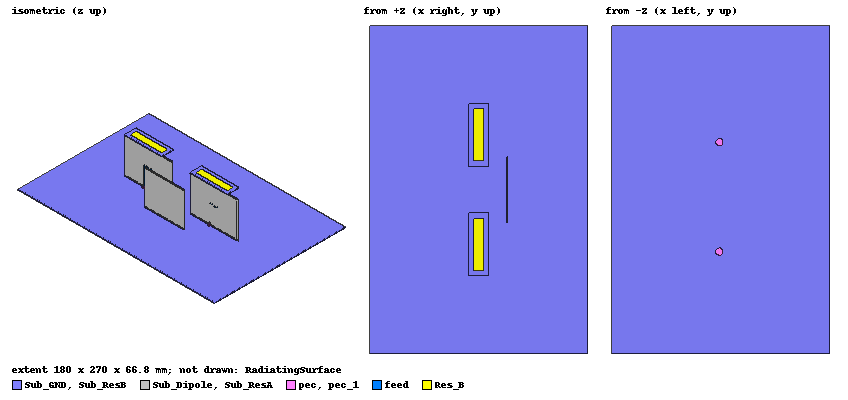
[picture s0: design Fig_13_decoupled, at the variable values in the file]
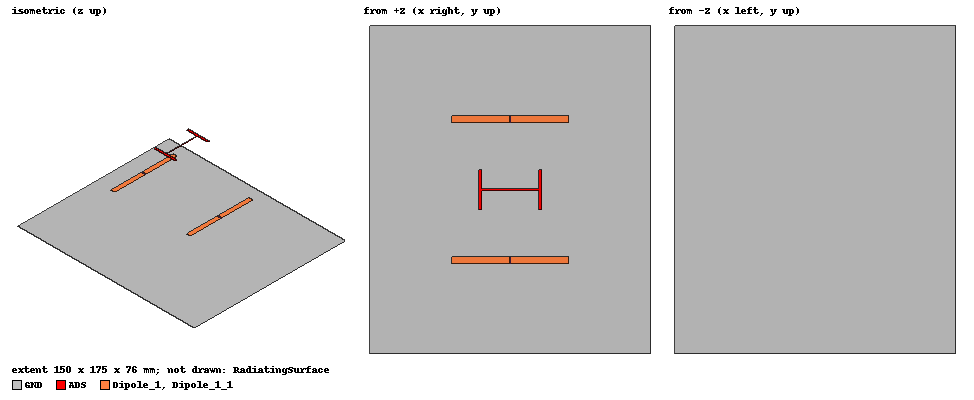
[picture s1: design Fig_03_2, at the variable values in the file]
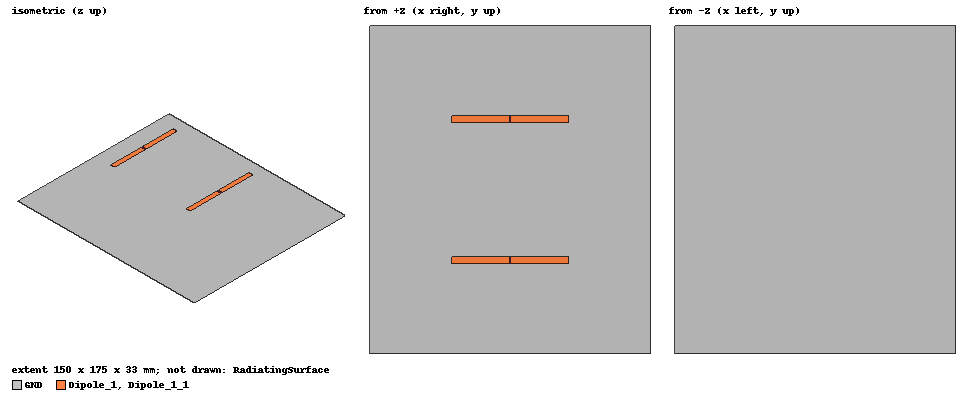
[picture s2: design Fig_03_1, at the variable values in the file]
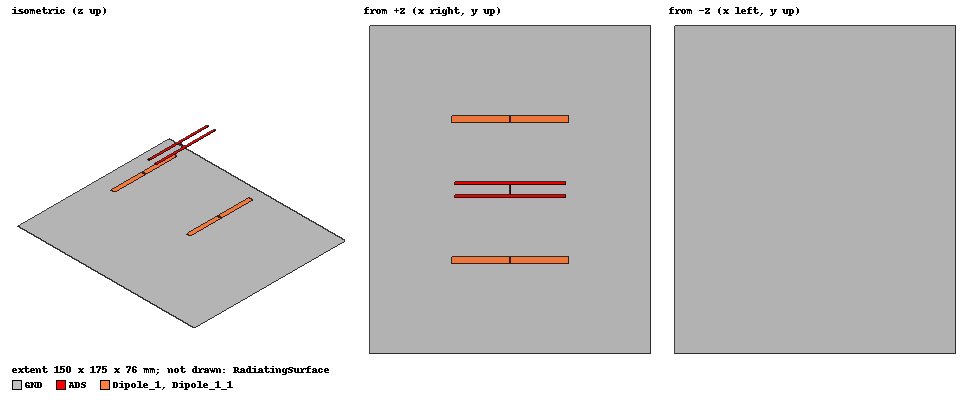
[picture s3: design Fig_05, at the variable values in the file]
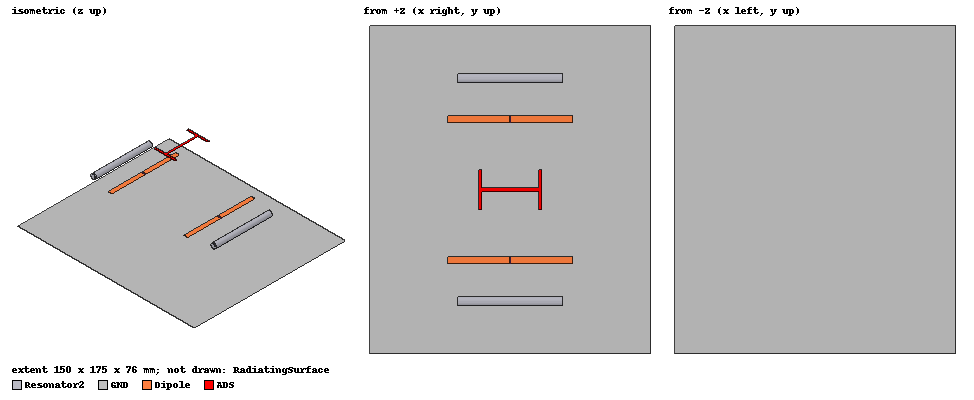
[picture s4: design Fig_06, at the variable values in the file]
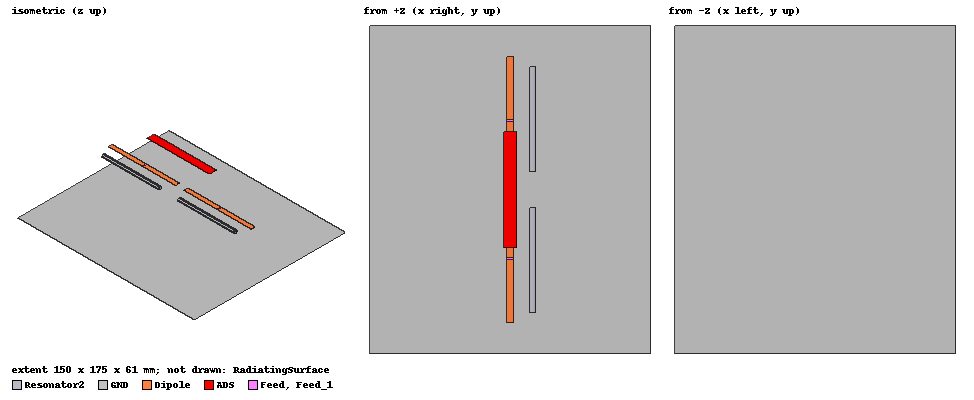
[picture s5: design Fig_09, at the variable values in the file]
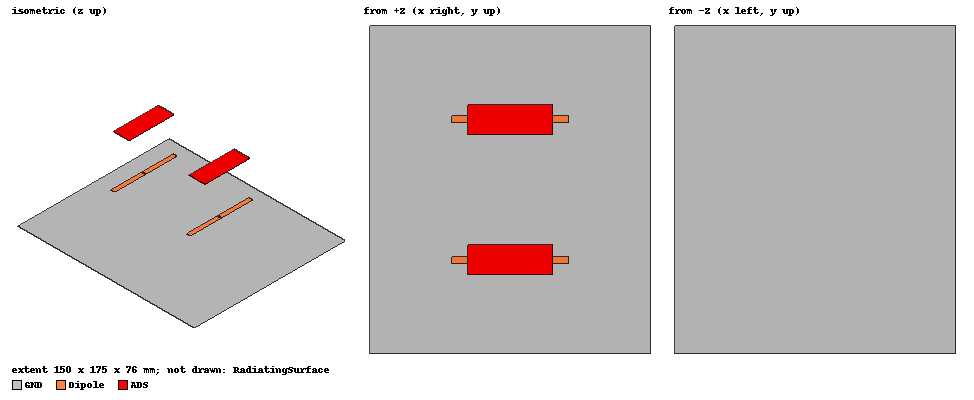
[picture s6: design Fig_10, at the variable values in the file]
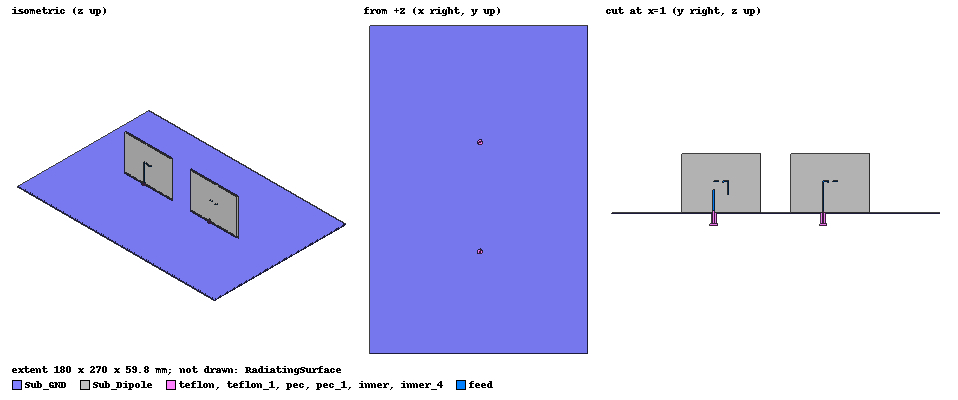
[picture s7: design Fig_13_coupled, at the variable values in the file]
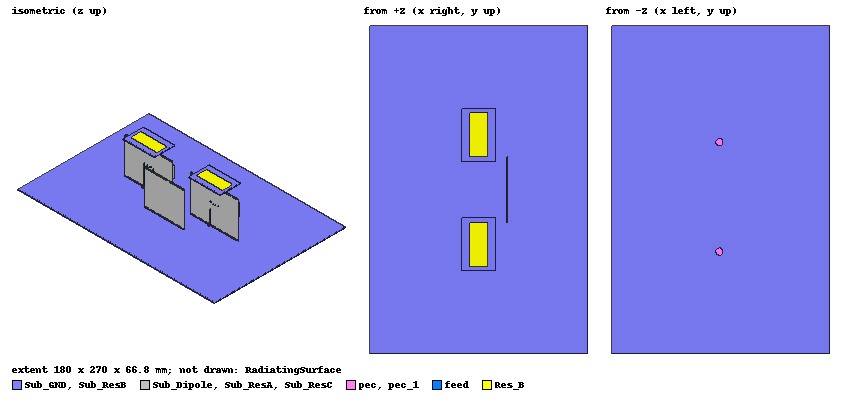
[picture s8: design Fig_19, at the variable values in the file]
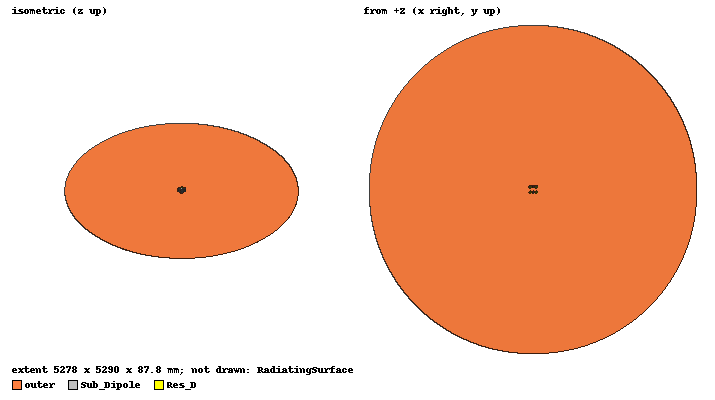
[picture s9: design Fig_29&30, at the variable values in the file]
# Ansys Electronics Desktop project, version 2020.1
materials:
  vacuum: permittivity=1
  Rogers RO4350 (tm): permittivity=3.66 dielectric_loss_tangent=0.004
  FR4_epoxy: permittivity=4.4 dielectric_loss_tangent=0.02
  pec: conductivity=1e+30
  Teflon (tm): permittivity=2.1 dielectric_loss_tangent=0.001
  teflon_based: permittivity=2.08 dielectric_loss_tangent=0.001
  FR4_epoxy1: permittivity=4.38 dielectric_loss_tangent=0.005

design Fig_13_decoupled (HFSS, DrivenModal, model units mm)
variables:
  t_pcb = 0.8mm
  t_sub = 0.8mm
  l_g = 270mm
  w_g = 180mm
  l_d1 = 65mm
  w_1 = 0.9mm
  w_3 = 0.4mm
  ww = 1.2mm
  w_2 = 0.6mm
  l_l2 = 14mm
  l_l1 = 19mm
  l_l4 = 5.2mm
  h_prob = 2mm
  r_prob = 0.6mm
  h_feed = 8mm
  feed_sub_radius = 2.07mm
  port_radius = 3mm
  D = 90mm
  G_h = 48mm
  G_w = 10mm
  G_w1 = 7mm
  G_l1 = 28mm
  G_l2 = 22mm
  gap = 2mm
  F_l3 = 12.6mm
  F_l31 = 4.6mm
  w_pcb = 49mm
  F_w1 = 0.9mm
  F_l1 = 19mm
  F_w2 = 0.6mm
  F_l2 = 7.3mm
  F_l4 = 11.3mm
  P_h3 = 56mm
  P_l3 = 43mm
  P_w3 = 8mm
  P_x = 23mm
  l_sub_ResA = 54mm
  P_l1 = 50mm
  P_h1 = 47mm
  P_h2 = 16mm
  P_w1 = 8mm
  P_l2 = 28mm
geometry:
  Sub_GND [pec] = box(corner=(-w_g/2, -l_g/2, 0mm), size=(w_g, l_g, -t_sub))
  Dipole = rectangle(corner=(-t_pcb/2, 0, 0mm), y_size=-G_w, z_size=G_h)
  Rectangle2 = rectangle(corner=(-t_pcb/2, 0, G_h), y_size=-G_l1, z_size=-G_w1)
  Rectangle3 = rectangle(corner=(-t_pcb/2, -G_l1, G_h), y_size=G_w1, z_size=-G_l2)
  feed = rectangle(corner=(t_pcb/2, -F_l3/2-w_1/2+w_2/2, 0mm), y_size=F_w1, z_size=F_l1)
  feed2 = rectangle(corner=(t_pcb/2, -F_l3/2, l_l1), y_size=F_w2, z_size=F_l2)
  feed3 = rectangle(corner=(t_pcb/2, -F_l3/2, F_l1+F_l2), y_size=F_l3, z_size=-F_w2)
  feed4 = rectangle(corner=(t_pcb/2, F_l3/2, F_l1+F_l2), y_size=-F_w2, z_size=-F_l4)
  feed5 = rectangle(corner=(t_pcb/2, -F_l31/2, F_l1+F_l2-ww), y_size=F_l31, z_size=-F_w2)
  feed6 = rectangle(corner=(t_pcb/2, -F_l31/2, F_l1+F_l2), y_size=F_l31, z_size=-F_w2)
  feed3.subtract(feed6)
  feed7 = rectangle(corner=(t_pcb/2, -F_l31/2, F_l1+F_l2), y_size=F_w2, z_size=-ww)
  feed8 = rectangle(corner=(t_pcb/2, F_l31/2, F_l1+F_l2), y_size=-F_w2, z_size=-ww)
  inner [pec] = cylinder(axis=Z, base_centre=(t_pcb/2+r_prob, -F_l3/2+w_2/2, h_prob), radius=r_prob, height=-h_prob-h_feed-t_sub)
  teflon [Teflon (tm)] = cylinder(axis=Z, base_centre=(t_pcb/2+r_prob, -F_l3/2+w_2/2, 0), radius=feed_sub_radius, height=-h_feed-t_sub)
  pec [pec] = cylinder(axis=Z, base_centre=(t_pcb/2+r_prob, -F_l3/2+w_2/2, -h_feed-t_sub), radius=port_radius, height=-2mm)
  RadiatingSurface [vacuum] = region(absolute_offset=50mm on all sides)
  Sub_Dipole [FR4_epoxy] = box(corner=(-t_pcb/2, -l_d1/2, 0mm), size=(t_pcb, l_d1, w_pcb))
  Dipole.unite(Rectangle2, Rectangle3)
  Dipole.move(0mm, -gap/2, 0mm)
  Dipole1_1 = Dipole.duplicate_mirror(point=(0mm, 0mm, 0mm), normal=(0mm, 1mm, 0mm))
  Dipole.unite(Dipole1_1)
  feed.unite(feed2..feed5, feed7, feed8)
  inner_2 = inner.copy()
  teflon.subtract(inner_2)
  [Sub_Dipole, inner, pec, teflon, Dipole, feed].move(0mm, -D/2, 0mm)
  inner_3 = inner.copy()
  Sub_GND.subtract(inner_3)
  Sub_Dipole_1 = Sub_Dipole.duplicate_mirror(point=(0mm, 0mm, 0mm), normal=(0mm, 1mm, 0mm))
  Dipole1_2 = Dipole.duplicate_along_line(step=(0mm, 90mm, 0mm), total=2)
  feed1_1 = feed.duplicate_along_line(step=(0mm, 90mm, 0mm), total=2)
  inner_4 [pec] = inner.duplicate_along_line(step=(0mm, D, 0mm), total=2)
  pec_1 [pec] = pec.duplicate_along_line(step=(0mm, D, 0mm), total=2)
  teflon_1 [Teflon (tm)] = teflon.duplicate_along_line(step=(0mm, D, 0mm), total=2)
  inner_4_1 = inner_4.copy()
  Sub_GND.subtract(inner_4_1)
  teflon_2 = teflon.copy()
  teflon_1_1 = teflon_1.copy()
  Sub_GND.subtract(teflon_2, teflon_1_1)
  Sub_Dipole.unite(Sub_Dipole_1)
  Sub_ResB [FR4_epoxy] = box(corner=(-P_w3/2*2, -P_l3/2*1.2, P_h3), size=(P_w3*2, P_l3*1.2, -t_pcb))
  Res_B = rectangle(corner=(-P_w3/2, -P_l3/2, P_h3), x_size=P_w3, y_size=P_l3)
  Res_B.move(0mm, -D/2, 0mm)
  Rectangle4_1 = Res_B.duplicate_mirror(point=(0mm, 0mm, 0mm), normal=(0mm, 1mm, 0mm))
  Res_B.unite(Rectangle4_1)
  Sub_ResB.move(0mm, -D/2, 0mm)
  Box1_1 = Sub_ResB.duplicate_mirror(point=(0mm, 0mm, 0mm), normal=(0mm, 1mm, 0mm))
  Sub_ResB.unite(Box1_1)
  Sub_ResA [FR4_epoxy] = box(corner=(P_x, -l_sub_ResA/2, 0mm), size=(t_pcb, l_sub_ResA, P_h1))
  Dipole.unite(Dipole1_2)
  feed.unite(feed1_1)
  Res_A = rectangle(corner=(P_x, -P_l1/2, P_l2+P_h2), y_size=P_l1, z_size=-G_w1)
  Res_A1 = rectangle(corner=(P_x, -P_l1/2, P_h2), y_size=P_w1, z_size=P_l2)
  Res_A1_1 = Res_A1.duplicate_mirror(point=(0mm, 0mm, 0mm), normal=(0mm, 1mm, 0mm))
  Res_A.unite(Res_A1, Res_A1_1)
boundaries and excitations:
  PerfE_Dipole: Perfect E Objects=[Dipole, feed]
  Open1: Radiation Objects=RadiatingSurface
  PerfE2: Perfect E Faces=teflon.face(1 of 3)
  PerfE4: Perfect E Faces=teflon_1.face(2 of 4)
  PerfE_Res_B: Perfect E Objects=Res_B
  PerfE_Res_A: Perfect E Objects=Res_A
  1: Wave Port Faces=pec.face(3 of 3) NumModes=1 Modes{Mode1{IntLine{centre of pec.face(3 of 3) -> pec.edge(2 of 2) at 0.25 along} CharImp=Zpi}}
  2: Wave Port Faces=pec_1.face(3 of 3) NumModes=1 Modes{Mode1{IntLine{centre of pec_1.face(3 of 3) -> pec_1.edge(2 of 2) at 0.25 along} CharImp=Zpi}}
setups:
  Setup1: HfssDriven Frequency=2GHz MaxDeltaS=0.02 MaximumPasses=6 MinimumPasses=1 MinimumConvergedPasses=1 PercentRefinement=30 BasisOrder=1 PortAccuracy=2
    sweep Sweep: 1.5GHz to 2.4GHz step 0.02GHz; Type=Discrete SaveFields
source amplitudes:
  1:1: 1W 0deg
  2:1: 0W 0deg
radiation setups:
  3D: Infinite Sphere Theta=0deg..180deg step 2deg Phi=-180deg..180deg step 2deg
  Elevation: Infinite Sphere Theta=-180deg..180deg step 1deg Phi=0deg..90deg step 90deg
  Azimuth: Infinite Sphere Theta=90deg..90deg step 0deg Phi=-180deg..180deg step 1deg
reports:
  S11_S22: dB(S(1,1)), dB(S(2,2)) vs Freq
  S21: dB(S(2,1)) vs Freq

design Fig_03_2 (HFSS, DrivenModal, model units mm)
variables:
  L_dipole = 62mm
  Pitch = 75mm
  W_dipole = 4mm
  L_gnd = 150mm
  W_gnd = 175mm
  hsub = 33mm
  L_feed = 1mm
  h_ADS = 76mm
  L_ADS = 30mm
  W_ADS = 0.8mm
  W_ADS1 = 2mm
  L_ADS1 = 21mm
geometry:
  Dipole_1 = rectangle(corner=(-L_dipole/2, -Pitch/2-W_dipole/2, 0mm), x_size=L_dipole, y_size=W_dipole)
  Dipole_1_1 = Dipole_1.duplicate_mirror(point=(0mm, 0mm, 0mm), normal=(0mm, 1mm, 0mm))
  GND = rectangle(corner=(-L_gnd/2, -W_gnd/2, -hsub), x_size=L_gnd, y_size=W_gnd)
  Feed = rectangle(corner=(-L_feed/2, -Pitch/2-W_dipole/2, 0mm), x_size=L_feed, y_size=W_dipole)
  Feed_1 = Feed.duplicate_mirror(point=(0mm, 0mm, 0mm), normal=(0mm, 1mm, 0mm))
  Feed_2 = Feed.copy()
  Dipole_1.subtract(Feed_2)
  Feed_1_1 = Feed_1.copy()
  Dipole_1_1.subtract(Feed_1_1)
  ADS = rectangle(corner=(-L_ADS/2, -W_ADS/2, h_ADS-hsub), x_size=L_ADS, y_size=W_ADS)
  ADS1 = rectangle(corner=(-L_ADS/2, -L_ADS1/2, h_ADS-hsub), x_size=-W_ADS1, y_size=L_ADS1)
  ADS1_1 = ADS1.duplicate_mirror(point=(0mm, 0mm, 0mm), normal=(1mm, 0mm, 0mm))
  ADS.unite(ADS1, ADS1_1)
  RadiatingSurface [vacuum] = region(absolute_offset=50mm on all sides)
  Rectangle1 [non-model] = rectangle(corner=(-L_gnd/2, -W_gnd/2, 0), x_size=L_gnd, y_size=W_gnd)
  Rectangle2 [non-model] = rectangle(corner=(-L_gnd/2, -W_gnd/2, h_ADS-hsub), x_size=L_gnd, y_size=W_gnd)
  Rectangle3 [non-model] = rectangle(corner=(0, -W_gnd/2, -hsub), y_size=W_gnd, z_size=h_ADS*3/2)
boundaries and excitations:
  PerfE_Dipole: Perfect E Objects=[Dipole_1, Dipole_1_1]
  PerfE_GND: Perfect E Objects=GND
  PerfE_ADS: Perfect E Objects=ADS
  Open1: Radiation Objects=RadiatingSurface
  1: Lumped Port Objects=Feed Modes{Mode1{IntLine{middle of Feed.edge(x at corner) -> middle of Feed.edge(x opposite corner)} CharImp=Zpi RenormImp=50ohm}} Impedance=50ohm
  2: Lumped Port Objects=Feed_1 Modes{Mode1{IntLine{middle of Feed_1.edge(2 of 4) -> middle of Feed_1.edge(4 of 4)} CharImp=Zpi RenormImp=50ohm}} Impedance=50ohm
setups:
  Setup1: HfssDriven Frequency=2GHz MaxDeltaS=0.02 MaximumPasses=6 MinimumPasses=1 MinimumConvergedPasses=2 PercentRefinement=30 BasisOrder=1 PortAccuracy=2
    sweep Sweep: 1.8GHz to 2.2GHz step 0.005GHz; Type=Discrete SaveFields
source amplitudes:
  1:1: 1W 0deg
  2:1: 0W 0deg
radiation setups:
  3D: Infinite Sphere Theta=0deg..180deg step 2deg Phi=-180deg..180deg step 2deg
  Elevation: Infinite Sphere Theta=-180deg..180deg step 1deg Phi=0deg..90deg step 90deg
  Azimuth: Infinite Sphere Theta=90deg..90deg step 0deg Phi=-180deg..180deg step 1deg
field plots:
  Mag_E1: E Field over a plane on Setup1 : Sweep at Freq=2GHz Phase=150deg
  Mag_E2: E Field over a plane on Setup1 : Sweep at Freq=2GHz Phase=0deg
  Mag_H1: H Field over a plane on Setup1 : Sweep at Freq=2GHz Phase=240deg
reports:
  S11: dB(S(1,1)), dB(S(1,1)) vs Freq; markers m1 at 1.975GHz
  S21: dB(S(2,1)), dB(S(2,1)) vs Freq

design Fig_03_1 (HFSS, DrivenModal, model units mm)
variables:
  L_dipole = 62mm
  Pitch = 75mm
  W_dipole = 4mm
  L_gnd = 150mm
  W_gnd = 175mm
  hsub = 33mm
  L_feed = 1mm
  h_ADS = 76mm
  L_ADS = 30mm
  W_ADS = 0.8mm
  W_ADS1 = 2mm
  L_ADS1 = 21mm
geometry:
  Dipole_1 = rectangle(corner=(-L_dipole/2, -Pitch/2-W_dipole/2, 0mm), x_size=L_dipole, y_size=W_dipole)
  Dipole_1_1 = Dipole_1.duplicate_mirror(point=(0mm, 0mm, 0mm), normal=(0mm, 1mm, 0mm))
  GND = rectangle(corner=(-L_gnd/2, -W_gnd/2, -hsub), x_size=L_gnd, y_size=W_gnd)
  Feed = rectangle(corner=(-L_feed/2, -Pitch/2-W_dipole/2, 0mm), x_size=L_feed, y_size=W_dipole)
  Feed_1 = Feed.duplicate_mirror(point=(0mm, 0mm, 0mm), normal=(0mm, 1mm, 0mm))
  Feed_2 = Feed.copy()
  Dipole_1.subtract(Feed_2)
  Feed_1_1 = Feed_1.copy()
  Dipole_1_1.subtract(Feed_1_1)
  RadiatingSurface [vacuum] = region(absolute_offset=50mm on all sides)
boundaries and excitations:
  PerfE_Dipole: Perfect E Objects=[Dipole_1, Dipole_1_1]
  PerfE_GND: Perfect E Objects=GND
  Open1: Radiation Objects=RadiatingSurface
  1: Lumped Port Objects=Feed Modes{Mode1{IntLine{middle of Feed.edge(x at corner) -> middle of Feed.edge(x opposite corner)} CharImp=Zpi RenormImp=50ohm}} Impedance=50ohm
  2: Lumped Port Objects=Feed_1 Modes{Mode1{IntLine{middle of Feed_1.edge(2 of 4) -> middle of Feed_1.edge(4 of 4)} CharImp=Zpi RenormImp=50ohm}} Impedance=50ohm
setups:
  Setup1: HfssDriven Frequency=2GHz MaxDeltaS=0.02 MaximumPasses=6 MinimumPasses=1 MinimumConvergedPasses=2 PercentRefinement=30 BasisOrder=1 PortAccuracy=2
    sweep Sweep: 1.8GHz to 2.2GHz step 0.01GHz; Type=Discrete SaveFields
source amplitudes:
  1:1: 1W 0deg
  2:1: 0W 0deg
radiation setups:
  3D: Infinite Sphere Theta=0deg..180deg step 2deg Phi=-180deg..180deg step 2deg
  Elevation: Infinite Sphere Theta=-180deg..180deg step 1deg Phi=0deg..90deg step 90deg
  Azimuth: Infinite Sphere Theta=90deg..90deg step 0deg Phi=-180deg..180deg step 1deg
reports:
  S11: dB(S(1,1)), dB(S(2,2)), dB(S(2,1)), dB(S(1,2)) vs Freq
  Realized Gain Plot 2: dB(RealizedGainTotal) vs Theta

design Fig_05 (HFSS, DrivenModal, model units mm)
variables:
  L_dipole = 62mm
  Pitch = 75mm
  W_dipole = 4mm
  L_gnd = 150mm
  W_gnd = 175mm
  hsub = 33mm
  L_feed = 1mm
  h_ADS = 76mm
  L_ADS = 0.8mm
  W_ADS = 5mm
  W_ADS1 = 2mm
  L_ADS1 = 59mm
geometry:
  Dipole_1 = rectangle(corner=(-L_dipole/2, -Pitch/2-W_dipole/2, 0mm), x_size=L_dipole, y_size=W_dipole)
  Dipole_1_1 = Dipole_1.duplicate_mirror(point=(0mm, 0mm, 0mm), normal=(0mm, 1mm, 0mm))
  GND = rectangle(corner=(-L_gnd/2, -W_gnd/2, -hsub), x_size=L_gnd, y_size=W_gnd)
  Feed = rectangle(corner=(-L_feed/2, -Pitch/2-W_dipole/2, 0mm), x_size=L_feed, y_size=W_dipole)
  Feed_1 = Feed.duplicate_mirror(point=(0mm, 0mm, 0mm), normal=(0mm, 1mm, 0mm))
  Feed_2 = Feed.copy()
  Dipole_1.subtract(Feed_2)
  Feed_1_1 = Feed_1.copy()
  Dipole_1_1.subtract(Feed_1_1)
  ADS = rectangle(corner=(-L_ADS/2, -W_ADS/2, h_ADS-hsub), x_size=L_ADS, y_size=W_ADS)
  ADS1 = rectangle(corner=(-L_ADS1/2, -W_ADS/2, h_ADS-hsub), x_size=L_ADS1, y_size=-W_ADS1)
  RadiatingSurface [vacuum] = region(absolute_offset=50mm on all sides)
  Rectangle1 [non-model] = rectangle(corner=(-L_gnd/2, -W_gnd/2, 0), x_size=L_gnd, y_size=W_gnd)
  Rectangle2 [non-model] = rectangle(corner=(-L_gnd/2, -W_gnd/2, h_ADS-hsub), x_size=L_gnd, y_size=W_gnd)
  Rectangle3 [non-model] = rectangle(corner=(0, -W_gnd/2, -hsub), y_size=W_gnd, z_size=h_ADS*3/2)
  ADS1_1 = ADS1.duplicate_mirror(point=(0mm, 0mm, 0mm), normal=(0mm, 1mm, 0mm))
  ADS.unite(ADS1, ADS1_1)
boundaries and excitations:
  PerfE_Dipole: Perfect E Objects=[Dipole_1, Dipole_1_1]
  PerfE_GND: Perfect E Objects=GND
  PerfE_ADS: Perfect E Objects=ADS
  Open1: Radiation Objects=RadiatingSurface
  1: Lumped Port Objects=Feed Modes{Mode1{IntLine{middle of Feed.edge(x at corner) -> middle of Feed.edge(x opposite corner)} CharImp=Zpi RenormImp=50ohm}} Impedance=50ohm
  2: Lumped Port Objects=Feed_1 Modes{Mode1{IntLine{middle of Feed_1.edge(2 of 4) -> middle of Feed_1.edge(4 of 4)} CharImp=Zpi RenormImp=50ohm}} Impedance=50ohm
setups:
  Setup1: HfssDriven Frequency=2GHz MaxDeltaS=0.02 MaximumPasses=6 MinimumPasses=1 MinimumConvergedPasses=2 PercentRefinement=30 BasisOrder=1 PortAccuracy=2
    sweep Sweep: 1.8GHz to 2.2GHz step 0.01GHz; Type=Discrete SaveFields
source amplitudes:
  1:1: 1W 0deg
  2:1: 0W 0deg
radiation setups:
  3D: Infinite Sphere Theta=0deg..180deg step 2deg Phi=-180deg..180deg step 2deg
  Elevation: Infinite Sphere Theta=-180deg..180deg step 1deg Phi=0deg..90deg step 90deg
  Azimuth: Infinite Sphere Theta=90deg..90deg step 0deg Phi=-180deg..180deg step 1deg
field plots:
  Mag_E1: E Field over a plane on Setup1 : Sweep at Freq=2GHz Phase=150deg
  Mag_E2: E Field over a plane on Setup1 : Sweep at Freq=2GHz Phase=0deg
  Mag_H1: H Field over a plane on Setup1 : Sweep at Freq=2GHz Phase=240deg
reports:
  S11: dB(S(1,1)), dB(S(1,1)) vs Freq
  S21: dB(S(2,1)), dB(S(2,1)) vs Freq

design Fig_06 (HFSS, DrivenModal, model units mm)
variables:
  L_dipole = 67mm
  Pitch = 75mm
  W_dipole = 4mm
  L_gnd = 150mm
  W_gnd = 175mm
  hsub = 33mm
  L_feed = 1mm
  h_ADS = 76mm
  L_ADS = 30mm
  W_ADS = 1.8mm
  W_ADS1 = 2mm
  L_ADS1 = 21mm
  r_Re2 = 2.5mm
  l_Re2 = 56mm
  d = 22mm
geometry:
  Dipole = rectangle(corner=(-L_dipole/2, -Pitch/2-W_dipole/2, 0mm), x_size=L_dipole, y_size=W_dipole)
  Dipole_1_1 = Dipole.duplicate_mirror(point=(0mm, 0mm, 0mm), normal=(0mm, 1mm, 0mm))
  GND = rectangle(corner=(-L_gnd/2, -W_gnd/2, -hsub), x_size=L_gnd, y_size=W_gnd)
  Feed = rectangle(corner=(-L_feed/2, -Pitch/2-W_dipole/2, 0mm), x_size=L_feed, y_size=W_dipole)
  Feed_1 = Feed.duplicate_mirror(point=(0mm, 0mm, 0mm), normal=(0mm, 1mm, 0mm))
  Feed_2 = Feed.copy()
  Dipole.subtract(Feed_2)
  Feed_1_1 = Feed_1.copy()
  Dipole_1_1.subtract(Feed_1_1)
  ADS = rectangle(corner=(-L_ADS/2, -W_ADS/2, h_ADS-hsub), x_size=L_ADS, y_size=W_ADS)
  ADS1 = rectangle(corner=(-L_ADS/2, -L_ADS1/2, h_ADS-hsub), x_size=-W_ADS1, y_size=L_ADS1)
  ADS1_1 = ADS1.duplicate_mirror(point=(0mm, 0mm, 0mm), normal=(1mm, 0mm, 0mm))
  ADS.unite(ADS1, ADS1_1)
  RadiatingSurface [vacuum] = region(absolute_offset=50mm on all sides)
  Rectangle1 [non-model] = rectangle(corner=(-L_gnd/2, -W_gnd/2, 0), x_size=L_gnd, y_size=W_gnd)
  Rectangle2 [non-model] = rectangle(corner=(-L_gnd/2, -W_gnd/2, h_ADS-hsub), x_size=L_gnd, y_size=W_gnd)
  Rectangle3 [non-model] = rectangle(corner=(0, -W_gnd/2, -hsub), y_size=W_gnd, z_size=h_ADS*3/2)
  Resonator2 [pec] = cylinder(axis=X, base_centre=(-l_Re2/2, -Pitch/2-d, 0mm), radius=r_Re2, height=l_Re2)
  Dipole.unite(Dipole_1_1)
  Resonator2_1 = Resonator2.duplicate_mirror(point=(0mm, 0mm, 0mm), normal=(0mm, 1mm, 0mm))
  Resonator2.unite(Resonator2_1)
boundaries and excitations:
  PerfE_Dipole: Perfect E Objects=Dipole
  PerfE_GND: Perfect E Objects=GND
  PerfE_ADS: Perfect E Objects=ADS
  Open1: Radiation Objects=RadiatingSurface
  1: Lumped Port Objects=Feed Modes{Mode1{IntLine{middle of Feed.edge(x at corner) -> middle of Feed.edge(x opposite corner)} CharImp=Zpi RenormImp=50ohm}} Impedance=50ohm
  2: Lumped Port Objects=Feed_1 Modes{Mode1{IntLine{middle of Feed_1.edge(2 of 4) -> middle of Feed_1.edge(4 of 4)} CharImp=Zpi RenormImp=50ohm}} Impedance=50ohm
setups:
  Setup1: HfssDriven Frequency=2GHz MaxDeltaS=0.02 MaximumPasses=6 MinimumPasses=1 MinimumConvergedPasses=2 PercentRefinement=30 BasisOrder=1 PortAccuracy=2
    sweep Sweep: 1.7GHz to 2.2GHz step 0.01GHz; Type=Discrete SaveFields
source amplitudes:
  1:1: 1W 0deg
  2:1: 0W 0deg
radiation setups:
  3D: Infinite Sphere Theta=0deg..180deg step 2deg Phi=-180deg..180deg step 2deg
  Elevation: Infinite Sphere Theta=-180deg..180deg step 1deg Phi=0deg..90deg step 90deg
  Azimuth: Infinite Sphere Theta=90deg..90deg step 0deg Phi=-180deg..180deg step 1deg
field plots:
  Mag_E1: E Field over a plane on Setup1 : Sweep at Freq=2GHz Phase=150deg
  Mag_E2: E Field over a plane on Setup1 : Sweep at Freq=2GHz Phase=0deg
  Mag_H1: H Field over a plane on Setup1 : Sweep at Freq=1.75GHz Phase=0deg
  Mag_H2: H Field over a plane on Setup1 : Sweep at Freq=2.04GHz Phase=0deg
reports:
  S11: dB(S(1,1)) vs Freq; markers m3 at 1.81GHz, m4 at 2.04GHz
  S21: dB(S(2,1)) vs Freq

design Fig_09 (HFSS, DrivenModal, model units mm)
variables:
  L_dipole = 67mm
  Pitch = 75mm
  W_dipole = 4mm
  L_gnd = 150mm
  W_gnd = 175mm
  hsub = 33mm
  L_feed = 1mm
  h_ADS = 61mm
  L_ADS = 62mm
  W_ADS = 7mm
  r_Re2 = 1.5mm
  l_Re2 = 56mm
  Pitch_Re2 = 12mm
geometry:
  Dipole = rectangle(corner=(-W_dipole/2, -Pitch/2-L_dipole/2, 0mm), x_size=W_dipole, y_size=L_dipole)
  Dipole_1_1 = Dipole.duplicate_mirror(point=(0mm, 0mm, 0mm), normal=(0mm, 1mm, 0mm))
  GND = rectangle(corner=(-L_gnd/2, -W_gnd/2, -hsub), x_size=L_gnd, y_size=W_gnd)
  Feed = rectangle(corner=(-W_dipole/2, -Pitch/2, 0mm), x_size=W_dipole, y_size=L_feed)
  Feed_1 = Feed.duplicate_mirror(point=(0mm, 0mm, 0mm), normal=(0mm, 1mm, 0mm))
  Feed_2 = Feed.copy()
  Dipole.subtract(Feed_2)
  Feed_1_1 = Feed_1.copy()
  Dipole_1_1.subtract(Feed_1_1)
  ADS = rectangle(corner=(-W_ADS/2, -L_ADS/2, h_ADS-hsub), x_size=W_ADS, y_size=L_ADS)
  RadiatingSurface [vacuum] = region(absolute_offset=50mm on all sides)
  Rectangle1 [non-model] = rectangle(corner=(-L_gnd/2, -W_gnd/2, 0), x_size=L_gnd, y_size=W_gnd)
  Rectangle2 [non-model] = rectangle(corner=(-L_gnd/2, -W_gnd/2, h_ADS-hsub), x_size=L_gnd, y_size=W_gnd)
  Rectangle3 [non-model] = rectangle(corner=(0, -W_gnd/2, -hsub), y_size=W_gnd, z_size=h_ADS*3/2)
  Resonator2 [pec] = cylinder(axis=Y, base_centre=(Pitch_Re2, -Pitch/2-l_Re2/2, 0mm), radius=r_Re2, height=l_Re2)
  Dipole.unite(Dipole_1_1)
  Resonator2_1 = Resonator2.duplicate_mirror(point=(0mm, 0mm, 0mm), normal=(0mm, 1mm, 0mm))
  Resonator2.unite(Resonator2_1)
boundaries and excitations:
  PerfE_Dipole: Perfect E Objects=Dipole
  PerfE_GND: Perfect E Objects=GND
  PerfE_ADS: Perfect E Objects=ADS
  Open1: Radiation Objects=RadiatingSurface
  1: Lumped Port Objects=Feed Modes{Mode1{IntLine{middle of Feed.edge(y opposite corner) -> middle of Feed.edge(y at corner)} CharImp=Zpi RenormImp=50ohm}} Impedance=50ohm
  2: Lumped Port Objects=Feed_1 Modes{Mode1{IntLine{middle of Feed_1.edge(3 of 4) -> middle of Feed_1.edge(1 of 4)} CharImp=Zpi RenormImp=50ohm}} Impedance=50ohm
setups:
  Setup1: HfssDriven Frequency=2GHz MaxDeltaS=0.02 MaximumPasses=6 MinimumPasses=1 MinimumConvergedPasses=2 PercentRefinement=30 BasisOrder=1 PortAccuracy=2
    sweep Sweep: 1.8GHz to 2.3GHz step 0.01GHz; Type=Discrete SaveFields
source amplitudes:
  1:1: 1W 0deg
  2:1: 0W 0deg
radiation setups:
  3D: Infinite Sphere Theta=0deg..180deg step 2deg Phi=-180deg..180deg step 2deg
  Elevation: Infinite Sphere Theta=-180deg..180deg step 1deg Phi=0deg..90deg step 90deg
  Azimuth: Infinite Sphere Theta=90deg..90deg step 0deg Phi=-180deg..180deg step 1deg
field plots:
  Mag_E1: E Field over a plane on Setup1 : Sweep at Freq=1.98GHz Phase=0deg
  Mag_E2: E Field over a plane on Setup1 : Sweep at Freq=2.18GHz Phase=0deg
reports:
  S11: dB(S(1,1)) vs Freq
  S21: dB(S(2,1)) vs Freq

design Fig_10 (HFSS, DrivenModal, model units mm)
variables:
  L_dipole = 62mm
  Pitch = 75mm
  W_dipole = 4mm
  L_gnd = 150mm
  W_gnd = 175mm
  hsub = 33mm
  L_feed = 1mm
  h_ADS = 76mm
  L_ADS = 45mm
  W_ADS = 16mm
  W_ADS1 = 2mm
  L_ADS1 = 21mm
  r_Re2 = 2.5mm
  l_Re2 = 56mm
  d = 22mm
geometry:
  Dipole = rectangle(corner=(-L_dipole/2, -Pitch/2-W_dipole/2, 0mm), x_size=L_dipole, y_size=W_dipole)
  Dipole_1_1 = Dipole.duplicate_mirror(point=(0mm, 0mm, 0mm), normal=(0mm, 1mm, 0mm))
  GND = rectangle(corner=(-L_gnd/2, -W_gnd/2, -hsub), x_size=L_gnd, y_size=W_gnd)
  Feed = rectangle(corner=(-L_feed/2, -Pitch/2-W_dipole/2, 0mm), x_size=L_feed, y_size=W_dipole)
  Feed_1 = Feed.duplicate_mirror(point=(0mm, 0mm, 0mm), normal=(0mm, 1mm, 0mm))
  Feed_2 = Feed.copy()
  Dipole.subtract(Feed_2)
  Feed_1_1 = Feed_1.copy()
  Dipole_1_1.subtract(Feed_1_1)
  ADS = rectangle(corner=(-L_ADS/2, -W_ADS/2-Pitch/2, h_ADS-hsub), x_size=L_ADS, y_size=W_ADS)
  RadiatingSurface [vacuum] = region(absolute_offset=50mm on all sides)
  Rectangle1 [non-model] = rectangle(corner=(-L_gnd/2, -W_gnd/2, 0), x_size=L_gnd, y_size=W_gnd)
  Rectangle2 [non-model] = rectangle(corner=(-L_gnd/2, -W_gnd/2, h_ADS-hsub), x_size=L_gnd, y_size=W_gnd)
  Rectangle3 [non-model] = rectangle(corner=(0, -W_gnd/2, -hsub), y_size=W_gnd, z_size=h_ADS*3/2)
  Dipole.unite(Dipole_1_1)
  ADS_1 = ADS.duplicate_mirror(point=(0, 0, 0), normal=(0mm, 1mm, 0mm))
  ADS.unite(ADS_1)
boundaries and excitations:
  PerfE_Dipole: Perfect E Objects=Dipole
  PerfE_GND: Perfect E Objects=GND
  PerfE_ADS: Perfect E Objects=ADS
  Open1: Radiation Objects=RadiatingSurface
  1: Lumped Port Objects=Feed Modes{Mode1{IntLine{middle of Feed.edge(x at corner) -> middle of Feed.edge(x opposite corner)} CharImp=Zpi RenormImp=50ohm}} Impedance=50ohm
  2: Lumped Port Objects=Feed_1 Modes{Mode1{IntLine{middle of Feed_1.edge(2 of 4) -> middle of Feed_1.edge(4 of 4)} CharImp=Zpi RenormImp=50ohm}} Impedance=50ohm
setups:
  Setup1: HfssDriven Frequency=2GHz MaxDeltaS=0.02 MaximumPasses=6 MinimumPasses=1 MinimumConvergedPasses=2 PercentRefinement=30 BasisOrder=1 PortAccuracy=2
    sweep Sweep: 1.7GHz to 2.2GHz step 0.01GHz; Type=Discrete SaveFields
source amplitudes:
  1:1: 1W 0deg
  2:1: 0W 0deg
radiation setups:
  3D: Infinite Sphere Theta=0deg..180deg step 2deg Phi=-180deg..180deg step 2deg
  Elevation: Infinite Sphere Theta=-180deg..180deg step 1deg Phi=0deg..90deg step 90deg
  Azimuth: Infinite Sphere Theta=90deg..90deg step 0deg Phi=-180deg..180deg step 1deg
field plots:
  Mag_E1: E Field over a plane on Setup1 : Sweep at Freq=2GHz Phase=0deg
  Mag_H1: H Field over a plane on Setup1 : Sweep at Freq=2GHz Phase=0deg
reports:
  S11: dB(S(1,1)), dB(S(2,2)) vs Freq; markers m3 at 1.81GHz, m4 at 2.04GHz
  S21: dB(S(2,1)) vs Freq

design Fig_13_coupled (HFSS, DrivenModal, model units mm)
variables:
  t_pcb = 0.8mm
  t_sub = 0.8mm
  l_g = 270mm
  w_g = 180mm
  l_d1 = 65mm
  w_1 = 0.9mm
  w_3 = 0.4mm
  ww = 1.2mm
  w_2 = 0.6mm
  l_l2 = 14mm
  l_l1 = 19mm
  l_l4 = 5.2mm
  h_prob = 2mm
  r_prob = 0.6mm
  h_feed = 8mm
  feed_sub_radius = 2.07mm
  port_radius = 3mm
  D = 90mm
  G_h = 48mm
  G_w = 10mm
  G_w1 = 7mm
  G_l1 = 28mm
  G_l2 = 22mm
  gap = 2mm
  F_l3 = 12.6mm
  F_l31 = 4.6mm
  w_pcb = 49mm
  F_w1 = 0.9mm
  F_l1 = 19mm
  F_w2 = 0.6mm
  F_l2 = 7.3mm
  F_l4 = 11.3mm
  P_h3 = 56mm
  P_l3 = 43mm
  P_w3 = 8mm
  P_x = 23mm
  l_sub_ResA = 54mm
  P_l1 = 50mm
  P_h1 = 47mm
  P_h2 = 16mm
  P_w1 = 8mm
  P_l2 = 28mm
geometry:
  Sub_GND [pec] = box(corner=(-w_g/2, -l_g/2, 0mm), size=(w_g, l_g, -t_sub))
  Dipole = rectangle(corner=(-t_pcb/2, 0, 0mm), y_size=-G_w, z_size=G_h)
  Rectangle2 = rectangle(corner=(-t_pcb/2, 0, G_h), y_size=-G_l1, z_size=-G_w1)
  Rectangle3 = rectangle(corner=(-t_pcb/2, -G_l1, G_h), y_size=G_w1, z_size=-G_l2)
  feed = rectangle(corner=(t_pcb/2, -F_l3/2-w_1/2+w_2/2, 0mm), y_size=F_w1, z_size=F_l1)
  feed2 = rectangle(corner=(t_pcb/2, -F_l3/2, l_l1), y_size=F_w2, z_size=F_l2)
  feed3 = rectangle(corner=(t_pcb/2, -F_l3/2, F_l1+F_l2), y_size=F_l3, z_size=-F_w2)
  feed4 = rectangle(corner=(t_pcb/2, F_l3/2, F_l1+F_l2), y_size=-F_w2, z_size=-F_l4)
  feed5 = rectangle(corner=(t_pcb/2, -F_l31/2, F_l1+F_l2-ww), y_size=F_l31, z_size=-F_w2)
  feed6 = rectangle(corner=(t_pcb/2, -F_l31/2, F_l1+F_l2), y_size=F_l31, z_size=-F_w2)
  feed3.subtract(feed6)
  feed7 = rectangle(corner=(t_pcb/2, -F_l31/2, F_l1+F_l2), y_size=F_w2, z_size=-ww)
  feed8 = rectangle(corner=(t_pcb/2, F_l31/2, F_l1+F_l2), y_size=-F_w2, z_size=-ww)
  inner [pec] = cylinder(axis=Z, base_centre=(t_pcb/2+r_prob, -F_l3/2+w_2/2, h_prob), radius=r_prob, height=-h_prob-h_feed-t_sub)
  teflon [Teflon (tm)] = cylinder(axis=Z, base_centre=(t_pcb/2+r_prob, -F_l3/2+w_2/2, 0), radius=feed_sub_radius, height=-h_feed-t_sub)
  pec [pec] = cylinder(axis=Z, base_centre=(t_pcb/2+r_prob, -F_l3/2+w_2/2, -h_feed-t_sub), radius=port_radius, height=-2mm)
  RadiatingSurface [vacuum] = region(absolute_offset=50mm on all sides)
  Sub_Dipole [FR4_epoxy] = box(corner=(-t_pcb/2, -l_d1/2, 0mm), size=(t_pcb, l_d1, w_pcb))
  Dipole.unite(Rectangle2, Rectangle3)
  Dipole.move(0mm, -gap/2, 0mm)
  Dipole1_1 = Dipole.duplicate_mirror(point=(0mm, 0mm, 0mm), normal=(0mm, 1mm, 0mm))
  Dipole.unite(Dipole1_1)
  feed.unite(feed2..feed5, feed7, feed8)
  inner_2 = inner.copy()
  teflon.subtract(inner_2)
  [Sub_Dipole, inner, pec, teflon, Dipole, feed].move(0mm, -D/2, 0mm)
  inner_3 = inner.copy()
  Sub_GND.subtract(inner_3)
  Sub_Dipole_1 = Sub_Dipole.duplicate_mirror(point=(0mm, 0mm, 0mm), normal=(0mm, 1mm, 0mm))
  Dipole1_2 = Dipole.duplicate_along_line(step=(0mm, 90mm, 0mm), total=2)
  feed1_1 = feed.duplicate_along_line(step=(0mm, 90mm, 0mm), total=2)
  inner_4 [pec] = inner.duplicate_along_line(step=(0mm, D, 0mm), total=2)
  pec_1 [pec] = pec.duplicate_along_line(step=(0mm, D, 0mm), total=2)
  teflon_1 [Teflon (tm)] = teflon.duplicate_along_line(step=(0mm, D, 0mm), total=2)
  inner_4_1 = inner_4.copy()
  Sub_GND.subtract(inner_4_1)
  teflon_2 = teflon.copy()
  teflon_1_1 = teflon_1.copy()
  Sub_GND.subtract(teflon_2, teflon_1_1)
  Sub_Dipole.unite(Sub_Dipole_1)
  Dipole.unite(Dipole1_2)
  feed.unite(feed1_1)
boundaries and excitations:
  PerfE_Dipole: Perfect E Objects=[Dipole, feed]
  Open1: Radiation Objects=RadiatingSurface
  PerfE2: Perfect E Faces=teflon.face(1 of 3)
  PerfE4: Perfect E Faces=teflon_1.face(2 of 4)
  1: Wave Port Faces=pec.face(3 of 3) NumModes=1 Modes{Mode1{IntLine{centre of pec.face(3 of 3) -> pec.edge(2 of 2) at 0.25 along} CharImp=Zpi}}
  2: Wave Port Faces=pec_1.face(3 of 3) NumModes=1 Modes{Mode1{IntLine{centre of pec_1.face(3 of 3) -> pec_1.edge(2 of 2) at 0.25 along} CharImp=Zpi}}
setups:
  Setup1: HfssDriven Frequency=2GHz MaxDeltaS=0.02 MaximumPasses=6 MinimumPasses=1 MinimumConvergedPasses=1 PercentRefinement=30 BasisOrder=1 PortAccuracy=2
    sweep Sweep: 1.5GHz to 2.4GHz step 0.02GHz; Type=Discrete SaveFields
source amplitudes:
  1:1: 1W 0deg
  2:1: 0W 0deg
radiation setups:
  3D: Infinite Sphere Theta=0deg..180deg step 2deg Phi=-180deg..180deg step 2deg
  Elevation: Infinite Sphere Theta=-180deg..180deg step 1deg Phi=0deg..90deg step 90deg
  Azimuth: Infinite Sphere Theta=90deg..90deg step 0deg Phi=-180deg..180deg step 1deg
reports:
  S11: dB(S(1,1)), dB(S(1,1)) vs Freq
  S21_coupling: dB(S(2,1)), dB(S(2,1)) vs Freq
  S22: dB(S(2,2)), dB(S(2,2)) vs Freq

design Fig_19 (HFSS, DrivenModal, model units mm)
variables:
  t_pcb = 0.762mm
  t_sub = 0.8mm
  l_g = 270mm
  w_g = 180mm
  l_d1 = 65mm
  ww = 1.2mm
  h_prob = 2mm
  r_prob = 0.6mm
  h_feed = 8mm
  feed_sub_radius = 2.07mm
  port_radius = 3mm
  D = 90mm
  G_h = 48mm
  G_w = 10mm
  G_w1 = 8mm
  G_l1 = 30mm
  G_l2 = 22mm
  gap = 2mm
  F_l3 = 12.6mm
  F_l31 = 4.6mm
  w_pcb = 49mm
  F_w1 = 1.18mm
  F_l1 = 19mm
  F_w2 = 0.6mm
  F_l2 = 9.3mm
  F_l4 = 10.3mm
  P_h3 = 56mm
  P_l3 = 36mm
  P_w3 = 14mm
  P_x = 23mm
  l_sub_ResA = 54mm
  P_l1 = 48mm
  P_h1 = 47mm
  P_h2 = 14mm
  P_w1 = 8mm
  P_l2 = 27mm
  P_x1 = 7mm
  P_h4 = 26mm
  P_l4 = 36mm
  P_w4 = 8mm
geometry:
  Sub_GND [pec] = box(corner=(-w_g/2, -l_g/2, 0mm), size=(w_g, l_g, -t_sub))
  Dipole = rectangle(corner=(-t_pcb/2, 0, 0mm), y_size=-G_w, z_size=G_h)
  Rectangle2 = rectangle(corner=(-t_pcb/2, 0, G_h), y_size=-G_l1, z_size=-G_w1)
  Rectangle3 = rectangle(corner=(-t_pcb/2, -G_l1, G_h), y_size=G_w1, z_size=-G_l2)
  feed = rectangle(corner=(t_pcb/2, -F_l3/2-F_w1/2+F_w2/2, 0mm), y_size=F_w1, z_size=F_l1)
  feed2 = rectangle(corner=(t_pcb/2, -F_l3/2, F_l1), y_size=F_w2, z_size=F_l2)
  feed3 = rectangle(corner=(t_pcb/2, -F_l3/2, F_l1+F_l2), y_size=F_l3, z_size=-F_w2)
  feed4 = rectangle(corner=(t_pcb/2, F_l3/2, F_l1+F_l2), y_size=-F_w2, z_size=-F_l4)
  feed5 = rectangle(corner=(t_pcb/2, -F_l31/2, F_l1+F_l2-ww), y_size=F_l31, z_size=-F_w2)
  feed6 = rectangle(corner=(t_pcb/2, -F_l31/2, F_l1+F_l2), y_size=F_l31, z_size=-F_w2)
  feed3.subtract(feed6)
  feed7 = rectangle(corner=(t_pcb/2, -F_l31/2, F_l1+F_l2), y_size=F_w2, z_size=-ww)
  feed8 = rectangle(corner=(t_pcb/2, F_l31/2, F_l1+F_l2), y_size=-F_w2, z_size=-ww)
  inner [pec] = cylinder(axis=Z, base_centre=(t_pcb/2+r_prob, -F_l3/2+F_w2/2, h_prob), radius=r_prob, height=-h_prob-h_feed-t_sub)
  teflon [Teflon (tm)] = cylinder(axis=Z, base_centre=(t_pcb/2+r_prob, -F_l3/2+F_w2/2, 0), radius=feed_sub_radius, height=-h_feed-t_sub)
  pec [pec] = cylinder(axis=Z, base_centre=(t_pcb/2+r_prob, -F_l3/2+F_w2/2, -h_feed-t_sub), radius=port_radius, height=-2mm)
  Sub_Dipole [FR4_epoxy1] = box(corner=(-t_pcb/2, -l_d1/2, 0mm), size=(t_pcb, l_d1, w_pcb))
  Dipole.unite(Rectangle2, Rectangle3)
  Dipole.move(0mm, -gap/2, 0mm)
  Dipole1_1 = Dipole.duplicate_mirror(point=(0mm, 0mm, 0mm), normal=(0mm, 1mm, 0mm))
  Dipole.unite(Dipole1_1)
  feed.unite(feed2..feed5, feed7, feed8)
  inner_2 = inner.copy()
  teflon.subtract(inner_2)
  [Sub_Dipole, inner, pec, teflon, Dipole, feed].move(0mm, -D/2, 0mm)
  inner_3 = inner.copy()
  Sub_GND.subtract(inner_3)
  Sub_Dipole_1 = Sub_Dipole.duplicate_mirror(point=(0mm, 0mm, 0mm), normal=(0mm, 1mm, 0mm))
  Dipole1_2 = Dipole.duplicate_along_line(step=(0mm, 90mm, 0mm), total=2)
  feed1_1 = feed.duplicate_along_line(step=(0mm, 90mm, 0mm), total=2)
  inner_4 [pec] = inner.duplicate_along_line(step=(0mm, D, 0mm), total=2)
  pec_1 [pec] = pec.duplicate_along_line(step=(0mm, D, 0mm), total=2)
  teflon_1 [Teflon (tm)] = teflon.duplicate_along_line(step=(0mm, D, 0mm), total=2)
  inner_4_1 = inner_4.copy()
  Sub_GND.subtract(inner_4_1)
  teflon_2 = teflon.copy()
  teflon_1_1 = teflon_1.copy()
  Sub_GND.subtract(teflon_2, teflon_1_1)
  Sub_Dipole.unite(Sub_Dipole_1)
  Sub_ResB [FR4_epoxy1] = box(corner=(-P_w3/2*2, -P_l3/2*1.2, P_h3), size=(P_w3*2, P_l3*1.2, -t_pcb))
  Res_B = rectangle(corner=(-P_w3/2, -P_l3/2, P_h3), x_size=P_w3, y_size=P_l3)
  Res_B.move(0mm, -D/2, 0mm)
  Rectangle4_1 = Res_B.duplicate_mirror(point=(0mm, 0mm, 0mm), normal=(0mm, 1mm, 0mm))
  Res_B.unite(Rectangle4_1)
  Sub_ResB.move(0mm, -D/2, 0mm)
  Box1_1 = Sub_ResB.duplicate_mirror(point=(0mm, 0mm, 0mm), normal=(0mm, 1mm, 0mm))
  Sub_ResB.unite(Box1_1)
  Sub_ResA [FR4_epoxy1] = box(corner=(P_x, -l_sub_ResA/2, 0mm), size=(t_pcb, l_sub_ResA, P_h1))
  Dipole.unite(Dipole1_2)
  feed.unite(feed1_1)
  Res_A = rectangle(corner=(P_x, -P_l1/2, P_l2+P_h2), y_size=P_l1, z_size=-G_w1)
  Res_A1 = rectangle(corner=(P_x, -P_l1/2, P_h2), y_size=P_w1, z_size=P_l2)
  Res_A1_1 = Res_A1.duplicate_mirror(point=(0mm, 0mm, 0mm), normal=(0mm, 1mm, 0mm))
  Res_A.unite(Res_A1, Res_A1_1)
  Res_C = rectangle(corner=(-P_x1, -P_l4/2, P_h4), y_size=P_l4, z_size=P_w4)
  Res_C.move(0mm, -D/2, 0mm)
  Res_C_1 = Res_C.duplicate_mirror(point=(0mm, 0mm, 0mm), normal=(0mm, 1mm, 0mm))
  Res_C.unite(Res_C_1)
  Sub_ResC [FR4_epoxy1] = box(corner=(-P_x1, -P_l4/2*3/2, P_h4-P_w4/2), size=(-t_pcb, P_l4/2*3, P_w4*2))
  Sub_ResC.move(0mm, -D/2, 0mm)
  Sub_Dipole_2 = Sub_ResC.duplicate_mirror(point=(0mm, 0mm, 0mm), normal=(0mm, 1mm, 0mm))
  Sub_ResC.unite(Sub_Dipole_2)
  RadiatingSurface [vacuum] = region(absolute_offset=41.666667mm on all sides)
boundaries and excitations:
  PerfE_Dipole: Perfect E Objects=[Dipole, feed]
  PerfE2: Perfect E Faces=teflon.face(1 of 3)
  PerfE4: Perfect E Faces=teflon_1.face(2 of 4)
  PerfE_Res_B: Perfect E Objects=Res_B
  PerfE_Res_A: Perfect E Objects=Res_A
  PerfE_ResC: Perfect E Objects=Res_C
  Open1: Radiation Objects=RadiatingSurface
  1: Wave Port Faces=pec.face(3 of 3) NumModes=1 Modes{Mode1{IntLine{centre of pec.face(3 of 3) -> pec.edge(2 of 2) at 0.25 along} CharImp=Zpi}}
  2: Wave Port Faces=pec_1.face(3 of 3) NumModes=1 Modes{Mode1{IntLine{centre of pec_1.face(3 of 3) -> pec_1.edge(2 of 2) at 0.25 along} CharImp=Zpi}}
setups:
  Setup1: HfssDriven Frequency=2.4GHz MaxDeltaS=0.02 MaximumPasses=6 MinimumPasses=1 MinimumConvergedPasses=1 PercentRefinement=30 BasisOrder=1 PortAccuracy=2
    sweep Sweep: 1.5GHz to 3.2GHz step 0.02GHz; Type=Discrete SaveFields
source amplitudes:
  1:1: 1W 0deg
  2:1: 0W 0deg
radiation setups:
  3D: Infinite Sphere Theta=0deg..180deg step 2deg Phi=-180deg..180deg step 2deg
  Elevation: Infinite Sphere Theta=-180deg..180deg step 1deg Phi=0deg..90deg step 90deg
  Azimuth: Infinite Sphere Theta=90deg..90deg step 0deg Phi=-180deg..180deg step 1deg
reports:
  S11: dB(S(1,1)), dB(S(2,2)) vs Freq
  S21: dB(S(2,1)) vs Freq

design Fig_29&30 (HFSS, DrivenModal, model units mm)
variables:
  t_pcb = 0.762mm
  t_sub = 0.8mm
  l_g = 270mm
  w_g = 270mm
  l_d1 = 65mm
  ww = 1.2mm
  h_prob = 2mm
  r_prob = 0.6mm
  h_feed = 8mm
  feed_sub_radius = 2.07mm
  port_radius = 3mm
  D = 90mm
  G_h = 48mm
  G_w = 10mm
  G_w1 = 7mm
  G_l1 = 28mm
  G_l2 = 22mm
  gap = 2mm
  F_l3 = 12.45mm
  F_l31 = 4.45mm
  w_pcb = 49mm
  F_w1 = 0.8mm
  F_l1 = 19mm
  F_w2 = 0.45mm
  F_l2 = 7.225mm
  F_l4 = 14.225mm
  P_h3 = 63mm
  P_x = 23mm
  l_sub_ResA = 54mm
  P_l1 = 48mm
  P_h1 = 47mm
  P_h2 = 14mm
  P_w1 = 8mm
  P_l2 = 27mm
  G_w_dual = 10mm
  G_w1_dual = 7mm
  G_l2_dual = 20mm
  G_l1_dual = 28mm
  G_h_dual = 48mm
  F_l3_dual = 12.5mm
  F_w1_dual = 0.9mm
  F_w2_dual = 0.5mm
  F_l1_dual = 19mm
  F_l2_dual = 9.25mm
  F_l31_dual = 4.5mm
  F_l4_dual = 13.25mm
  ww_dual = 1.2mm
  Q_w1 = 12mm
  Q_l1 = 42mm
  Q_w2 = 12mm
  Q_l2 = 42mm
  # Resonator_C
  N_l1 = 33mm
  N_w1 = 2.3mm
  N_l2 = 29mm
  N_w2 = 3mm
  N_h1 = 74mm
  M_l1 = 46mm
  M_w1 = 8mm
  M_l2 = 29mm
  M_h1 = 5mm
  M_l3 = 46mm
  M_l4 = 30mm
  M_h2 = 3mm
  M_w2 = 6mm
  N_l3 = 37mm
  N_w3 = 2.1mm
  N_h2 = 77mm
  N_l4 = 26mm
  N_w4 = 3mm
  M_h = 37mm
  Pp_h2 = 77mm
  Pp_h1 = 74mm
  offset = 1mm
  P_x1 = 11mm
  P_x2 = 14mm
  R_l1 = 33mm
  R_w1 = 2.3mm
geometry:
  Sub_GND [pec] = box(corner=(-w_g/2, -l_g/2, 0mm), size=(w_g, l_g, -t_sub))
  Dipole = rectangle(corner=(-t_pcb/2, 0, 0mm), y_size=-G_w, z_size=G_h)
  Rectangle2 = rectangle(corner=(-t_pcb/2, 0, G_h), y_size=-G_l1, z_size=-G_w1)
  Rectangle3 = rectangle(corner=(-t_pcb/2, -G_l1, G_h), y_size=G_w1, z_size=-G_l2)
  feed = rectangle(corner=(t_pcb/2, -F_l3/2-F_w1/2+F_w2/2, 0mm), y_size=F_w1, z_size=F_l1)
  feed2 = rectangle(corner=(t_pcb/2, -F_l3/2, F_l1), y_size=F_w2, z_size=F_l2)
  feed3 = rectangle(corner=(t_pcb/2, -F_l3/2, F_l1+F_l2), y_size=F_l3, z_size=-F_w2)
  feed4 = rectangle(corner=(t_pcb/2, F_l3/2, F_l1+F_l2), y_size=-F_w2, z_size=-F_l4)
  feed5 = rectangle(corner=(t_pcb/2, -F_l31/2, F_l1+F_l2-ww), y_size=F_l31, z_size=-F_w2)
  feed6 = rectangle(corner=(t_pcb/2, -F_l31/2, F_l1+F_l2), y_size=F_l31, z_size=-F_w2)
  feed3.subtract(feed6)
  feed7 = rectangle(corner=(t_pcb/2, -F_l31/2, F_l1+F_l2), y_size=F_w2, z_size=-ww)
  feed8 = rectangle(corner=(t_pcb/2, F_l31/2, F_l1+F_l2), y_size=-F_w2, z_size=-ww)
  inner [pec] = cylinder(axis=Z, base_centre=(t_pcb/2+r_prob, -F_l3/2+F_w2/2, h_prob), radius=r_prob, height=-h_prob-h_feed-t_sub)
  teflon [Teflon (tm)] = cylinder(axis=Z, base_centre=(t_pcb/2+r_prob, -F_l3/2+F_w2/2, 0), radius=feed_sub_radius, height=-h_feed-t_sub)
  pec [pec] = cylinder(axis=Z, base_centre=(t_pcb/2+r_prob, -F_l3/2+F_w2/2, -h_feed-t_sub), radius=port_radius, height=-2mm)
  RadiatingSurface [vacuum] = region(absolute_offset=50mm on all sides)
  Sub_Dipole [FR4_epoxy1] = box(corner=(-t_pcb/2, -l_d1/2, 0mm), size=(t_pcb, l_d1, w_pcb))
  Dipole.unite(Rectangle2, Rectangle3)
  Dipole.move(0mm, -gap/2, 0mm)
  Dipole1_1 = Dipole.duplicate_mirror(point=(0mm, 0mm, 0mm), normal=(0mm, 1mm, 0mm))
  Dipole.unite(Dipole1_1)
  feed.unite(feed2..feed5, feed7, feed8)
  inner_2 = inner.copy()
  teflon.subtract(inner_2)
  [Sub_Dipole, inner, pec, teflon, Dipole, feed].move(0mm, -D/2, 0mm)
  Sub_Dipole_1 = Sub_Dipole.duplicate_mirror(point=(0mm, 0mm, 0mm), normal=(0mm, 1mm, 0mm))
  Dipole1_2 = Dipole.duplicate_along_line(step=(0mm, 90mm, 0mm), total=2)
  feed1_1 = feed.duplicate_along_line(step=(0mm, 90mm, 0mm), total=2)
  inner_4 = inner.duplicate_along_line(step=(0mm, D, 0mm), total=2)
  pec_1 = pec.duplicate_along_line(step=(0mm, D, 0mm), total=2)
  teflon_1 = teflon.duplicate_along_line(step=(0mm, D, 0mm), total=2)
  Sub_Dipole.unite(Sub_Dipole_1)
  Sub_ResD [FR4_epoxy1] = box(corner=(-Q_w1/2*2, -Q_l1/2*1.2, P_h3), size=(Q_w1*2, Q_l1*1.2, -t_pcb))
  Res_D = rectangle(corner=(-Q_w1/2, -Q_l1/2, P_h3), x_size=Q_w1, y_size=Q_l1)
  Res_D.move(0mm, -D/2, 0mm)
  Rectangle4_1 = Res_D.duplicate_mirror(point=(0mm, 0mm, 0mm), normal=(0mm, 1mm, 0mm))
  Res_D.unite(Rectangle4_1)
  Sub_ResD.move(0mm, -D/2, 0mm)
  Box1_1 = Sub_ResD.duplicate_mirror(point=(0mm, 0mm, 0mm), normal=(0mm, 1mm, 0mm))
  Sub_ResD.unite(Box1_1)
  Sub_ResC [FR4_epoxy1] = box(corner=(P_x1, -M_l1*1.2/2, 0mm), size=(t_pcb, M_l1*1.2, M_h))
  Dipole.unite(Dipole1_2)
  feed.unite(feed1_1)
  Res_C = rectangle(corner=(P_x1, -M_l1/2, M_l2+M_h1), y_size=M_l1, z_size=-M_w1)
  Res_A1 = rectangle(corner=(P_x1, -M_l1/2, M_h1), y_size=M_w1, z_size=M_l2)
  Res_A1_1 = Res_A1.duplicate_mirror(point=(0mm, 0mm, 0mm), normal=(0mm, 1mm, 0mm))
  Res_C.unite(Res_A1, Res_A1_1)
  Sub_Dipole1 = box(corner=(-t_pcb/2, -l_d1/2, 0mm), size=(t_pcb, l_d1, w_pcb))
  Sub_Dipole1.rotate(axis=Z, angle=-90deg)
  Sub_Dipole1.move(0mm, -D/2, 0mm)
  Sub_Dipole1_1 = Sub_Dipole1.duplicate_mirror(point=(0mm, 0mm, 0mm), normal=(0mm, 1mm, 0mm))
  Sub_Dipole1.unite(Sub_Dipole1_1)
  Dipole1 = rectangle(corner=(-t_pcb/2, 0, 0mm), y_size=-G_w_dual, z_size=G_h_dual)
  Rectangle4 = rectangle(corner=(-t_pcb/2, 0, G_h_dual), y_size=-G_l1_dual, z_size=-G_w1_dual)
  Rectangle5 = rectangle(corner=(-t_pcb/2, -G_l1_dual, G_h_dual), y_size=G_w1_dual, z_size=-G_l2_dual)
  Dipole1.unite(Rectangle4, Rectangle5)
  Dipole1.move(0mm, -gap/2, 0mm)
  Dipole1_3 = Dipole1.duplicate_mirror(point=(0mm, 0mm, 0mm), normal=(0mm, 1mm, 0mm))
  Dipole1.unite(Dipole1_3)
  Dipole1.rotate(axis=Z, angle=-90deg)
  Dipole1.move(0mm, -D/2, 0mm)
  Dipole1.duplicate_along_line(step=(0mm, D, 0mm), total=2, attached)
  feed9 = rectangle(corner=(t_pcb/2, -F_l3_dual/2-F_w1_dual/2+F_w2_dual/2, 0mm), y_size=F_w1_dual, z_size=F_l1_dual)
  feed10 = rectangle(corner=(t_pcb/2, -F_l3_dual/2, F_l1_dual), y_size=F_w2_dual, z_size=F_l2_dual)
  feed11 = rectangle(corner=(t_pcb/2, -F_l3_dual/2, F_l1_dual+F_l2_dual), y_size=F_l3_dual, z_size=-F_w2_dual)
  feed14 = rectangle(corner=(t_pcb/2, -F_l31_dual/2, F_l1_dual+F_l2_dual), y_size=F_l31_dual, z_size=-F_w2_dual)
  feed11.subtract(feed14)
  feed12 = rectangle(corner=(t_pcb/2, F_l3_dual/2, F_l1_dual+F_l2_dual), y_size=-F_w2_dual, z_size=-F_l4_dual)
  feed13 = rectangle(corner=(t_pcb/2, -F_l31_dual/2, F_l1_dual+F_l2_dual+ww_dual), y_size=F_l31_dual, z_size=-F_w2_dual)
  feed15 = rectangle(corner=(t_pcb/2, -F_l31_dual/2, F_l1_dual+F_l2_dual-F_w2_dual), y_size=F_w2_dual, z_size=ww_dual)
  feed16 = rectangle(corner=(t_pcb/2, F_l31_dual/2, F_l1_dual+F_l2_dual-F_w2_dual), y_size=-F_w2_dual, z_size=ww_dual)
  feed9.unite(feed10..feed13, feed15, feed16)
  feed9.rotate(axis=Z, angle=-90deg)
  feed9.move(0mm, -D/2, 0mm)
  feed9.duplicate_along_line(step=(0mm, D, 0mm), total=2, attached)
  inner1 = cylinder(axis=Z, base_centre=(t_pcb/2+r_prob, -F_l3/2+F_w2/2, h_prob), radius=r_prob, height=-h_prob-h_feed-t_sub)
  inner_5 = inner1.copy()
  teflon1 = cylinder(axis=Z, base_centre=(t_pcb/2+r_prob, -F_l3/2+F_w2/2, 0), radius=feed_sub_radius, height=-h_feed-t_sub)
  teflon1.subtract(inner_5)
  pec1 = cylinder(axis=Z, base_centre=(t_pcb/2+r_prob, -F_l3/2+F_w2/2, -h_feed-t_sub), radius=port_radius, height=-2mm)
  [inner1, teflon1, pec1].rotate(axis=Z, angle=-90deg)
  [inner1, pec1, teflon1].move(0mm, -D/2, 0mm)
  inner1.duplicate_along_line(step=(0mm, D, 0), total=2, attached)
  pec1.duplicate_along_line(step=(0mm, D, 0mm), total=2, attached)
  teflon1.duplicate_along_line(step=(0mm, D, 0mm), total=2, attached)
  inner.unite(inner_4, inner1)
  pec.unite(pec_1, pec1)
  teflon.unite(teflon_1, teflon1)
  Dipole.unite(Dipole1)
  Dipole.unite(feed, feed9)
  Sub_Dipole.unite(Sub_Dipole1)
  Res_B1 = rectangle(corner=(-Q_w2/2, -Q_l2/2, P_h3), x_size=Q_w2, y_size=Q_l2)
  Res_B1.rotate(axis=Z, angle=90deg)
  Res_B1.move(0mm, -D/2, 0mm)
  Res_B1_1 = Res_B1.duplicate_mirror(point=(0mm, 0mm, 0mm), normal=(0mm, 1mm, 0mm))
  Res_B1.unite(Res_B1_1)
  Res_D.unite(Res_B1)
  Sub_ResB1 = box(corner=(-Q_l2/2*1.2, -Q_w2/2*2, P_h3), size=(Q_l2*1.2, Q_w2*2, -t_pcb))
  Sub_ResB1.move(0mm, -D/2, 0mm)
  Box1_2 = Sub_ResB1.duplicate_mirror(point=(0mm, 0mm, 0mm), normal=(0mm, 1mm, 0mm))
  Sub_ResB1.unite(Box1_2)
  Sub_ResD.unite(Sub_ResB1)
  Res_A = rectangle(corner=(-N_l1/2, 0mm, -N_w1/2), z_size=N_w1, x_size=N_l1)
  Res_C1 = rectangle(corner=(-N_l1/2, 0mm, -N_l2/2), z_size=N_l2, x_size=-N_w2)
  Res_C1_1 = Res_C1.duplicate_mirror(point=(0mm, 0mm, 0mm), normal=(1mm, 0mm, 0mm))
  Res_A.unite(Res_C1, Res_C1_1)
  Res_A.move(0mm, 0mm, Pp_h1-N_l2/2-offset)
  Sub_ResA [FR4_epoxy1] = box(corner=(-N_l1/2*1.3, 0mm, Pp_h1), size=(N_l1*1.3, -t_pcb, -N_l2-2*offset))
  outer [pec] = cylinder(axis=Z, base_centre=(t_pcb/2+r_prob, -F_l3/2+F_w2/2, 0), radius=2.5m, height=-h_feed-t_sub)
  inner2 = cylinder(axis=Z, base_centre=(t_pcb/2+r_prob, -F_l3/2+F_w2/2, h_prob), radius=r_prob, height=-h_prob-h_feed-t_sub)
  inner_7 = inner2.copy()
  outer.subtract(inner_7)
  inner2.delete()
  outer.move(0mm, -D/2, 0mm)
  teflon_4 = outer.duplicate_along_line(step=(0mm, D, 0mm), total=2)
  teflon3 = cylinder(axis=Z, base_centre=(t_pcb/2+r_prob, -F_l3/2+F_w2/2, 0), radius=2.6m, height=-h_feed-t_sub)
  inner3 = cylinder(axis=Z, base_centre=(t_pcb/2+r_prob, -F_l3/2+F_w2/2, h_prob), radius=r_prob, height=-h_prob-h_feed-t_sub)
  inner_8 = inner3.copy()
  teflon3.subtract(inner_8)
  teflon3.rotate(axis=Z, angle=-90deg)
  teflon3.move(0mm, -D/2, 0mm)
  teflon3.duplicate_along_line(step=(0mm, D, 0mm), total=2, attached)
  outer.unite(teflon_4, teflon3)
  inner3.delete()
  teflon_5 = teflon.copy()
  outer.subtract(teflon_5)
  [Sub_ResA, Sub_Dipole, Sub_ResC, Sub_ResD, inner, outer, pec, teflon, Dipole, Res_C, Res_D, Res_A].move(D/2, 0mm, 0mm)
  Dipole_1 = Dipole.duplicate_mirror(point=(0mm, 0mm, 0mm), normal=(-1mm, 0mm, 0mm))
  inner_9 = inner.duplicate_mirror(point=(0mm, 0mm, 0mm), normal=(-1mm, 0mm, 0mm))
  teflon_6 = teflon.duplicate_mirror(point=(0mm, 0mm, 0mm), normal=(-1mm, 0mm, 0mm))
  pec_2 = pec.duplicate_mirror(point=(0mm, 0mm, 0mm), normal=(-1mm, 0mm, 0mm))
  Sub_Dipole_2 = Sub_Dipole.duplicate_mirror(point=(0mm, 0mm, 0mm), normal=(-1mm, 0mm, 0mm))
  Sub_ResB_1 = Sub_ResD.duplicate_mirror(point=(0mm, 0mm, 0mm), normal=(-1mm, 0mm, 0mm))
  Res_B_1 = Res_D.duplicate_mirror(point=(0mm, 0mm, 0mm), normal=(-1mm, 0mm, 0mm))
  Sub_ResA_1 = Sub_ResC.duplicate_mirror(point=(0mm, 0mm, 0mm), normal=(-1mm, 0mm, 0mm))
  Res_A_1 = Res_C.duplicate_mirror(point=(0mm, 0mm, 0mm), normal=(-1mm, 0mm, 0mm))
  Res_C_1 = Res_A.duplicate_mirror(point=(0mm, 0mm, 0mm), normal=(-1mm, 0mm, 0mm))
  Sub_ResC_1 = Sub_ResA.duplicate_mirror(point=(0mm, 0mm, 0mm), normal=(-1mm, 0mm, 0mm))
  outer_1 = outer.duplicate_mirror(point=(0mm, 0mm, 0mm), normal=(-1mm, 0mm, 0mm))
  inner.unite(inner_9)
  outer.unite(outer_1)
  pec.unite(pec_2)
  Sub_Dipole.unite(Sub_Dipole_2)
  Sub_ResC.unite(Sub_ResA_1)
  Sub_ResD.unite(Sub_ResB_1)
  Sub_ResA.unite(Sub_ResC_1)
  teflon.unite(teflon_6)
  Dipole.unite(Dipole_1)
  Res_C.unite(Res_A_1)
  Res_D.unite(Res_B_1)
  Res_A.unite(Res_C_1)
  Res_E = rectangle(corner=(P_x2, -M_l3/2, M_l4+M_h2), y_size=M_l3, z_size=-M_w2)
  Res_A3 = rectangle(corner=(P_x2, -M_l3/2, M_h2), y_size=M_w2, z_size=M_l4)
  Res_A1_2 = Res_A3.duplicate_mirror(point=(0mm, 0mm, 0mm), normal=(0mm, 1mm, 0mm))
  Res_E.unite(Res_A3, Res_A1_2)
  Res_E.move(D/2, 0mm, 0mm)
  Res_A_2 = Res_E.duplicate_mirror(point=(0mm, 0mm, 0mm), normal=(-1mm, 0mm, 0mm))
  Res_E.unite(Res_A_2)
  Res_E.rotate(axis=Z, angle=90deg)
  Sub_ResE [FR4_epoxy1] = box(corner=(P_x2, -M_l3*1.2/2, 0mm), size=(t_pcb, M_l3*1.2, M_h2*2+M_l4))
  Sub_ResE.move(D/2, 0mm, 0mm)
  Sub_ResA_2 = Sub_ResE.duplicate_mirror(point=(0mm, 0mm, 0mm), normal=(-1mm, 0mm, 0mm))
  Sub_ResE.unite(Sub_ResA_2)
  Sub_ResE.rotate(axis=Z, angle=90deg)
  Res_B = rectangle(corner=(-N_l3/2, 0mm, -N_w3/2), z_size=N_w3, x_size=N_l3)
  Res_C3 = rectangle(corner=(-N_l3/2, 0mm, -N_l4/2), z_size=N_l4, x_size=-N_w4)
  Res_C1_2 = Res_C3.duplicate_mirror(point=(0mm, 0mm, 0mm), normal=(1mm, 0mm, 0mm))
  Res_B.unite(Res_C3, Res_C1_2)
  Res_B.move(0mm, 0mm, Pp_h2-N_l4/2-offset)
  Res_B.move(D/2, 0mm, 0mm)
  Res_C_2 = Res_B.duplicate_mirror(point=(0mm, 0mm, 0mm), normal=(-1mm, 0mm, 0mm))
  Res_B.unite(Res_C_2)
  Res_B.rotate(axis=Z, angle=90deg)
  Sub_ResB [FR4_epoxy1] = box(corner=(-N_l3/2*1.3, 0mm, Pp_h2), size=(N_l3*1.3, -t_pcb, -N_l4-2*offset))
  Sub_ResB.move(D/2, 0mm, 0mm)
  Sub_ResC_2 = Sub_ResB.duplicate_mirror(point=(0mm, 0mm, 0mm), normal=(-1mm, 0mm, 0mm))
  Sub_ResB.unite(Sub_ResC_2)
  Sub_ResB.rotate(axis=Z, angle=90deg)
  inner_10 = inner.copy()
  outer_2 = outer.copy()
  Sub_GND.subtract(inner_10, outer_2)
  teflon_7 = teflon.copy()
  Sub_GND.subtract(teflon_7)
  [Sub_ResA, Sub_ResB, Sub_ResC, Sub_ResE, Res_A, Res_B, Res_C, Res_E].rotate(axis=Z, angle=90deg)
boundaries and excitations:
  PerfE_Dipole: Perfect E Objects=Dipole
  Open1: Radiation Objects=RadiatingSurface
  PerfE_Res_B: Perfect E Objects=Res_D
  PerfE_Res_A: Perfect E Objects=Res_C
  PerfE_Res_C: Perfect E Objects=Res_A
  PerfE_Res_E: Perfect E Objects=Res_E
  PerfE_Res_D: Perfect E Objects=Res_B
  1: Wave Port Faces=pec.face(6 of 12) NumModes=1 Modes{Mode1{IntLine{centre of pec.face(6 of 12) -> pec.edge(4 of 8) at 0.25 along} CharImp=Zpi}}
  2: Wave Port Faces=pec.face(9 of 12) NumModes=1 Modes{Mode1{IntLine{centre of pec.face(9 of 12) -> pec.edge(6 of 8) at -0.25 along} CharImp=Zpi}}
  3: Wave Port Faces=pec.face(3 of 12) NumModes=1 Modes{Mode1{IntLine{centre of pec.face(3 of 12) -> pec.edge(2 of 8) at 0.25 along} CharImp=Zpi}}
  4: Wave Port Faces=pec.face(12 of 12) NumModes=1 Modes{Mode1{IntLine{centre of pec.face(12 of 12) -> pec.edge(8 of 8) at -0.25 along} CharImp=Zpi}}
  5: Wave Port Faces=pec.face(3 of 3) NumModes=1 Modes{Mode1{IntLine{centre of pec.face(3 of 3) -> pec.edge(2 of 2) at 0.25 along} CharImp=Zpi}}
  6: Wave Port Faces=pec.face(3 of 3) NumModes=1 Modes{Mode1{IntLine{centre of pec.face(3 of 3) -> pec.edge(2 of 2) at 0.25 along} CharImp=Zpi}}
  7: Wave Port Faces=pec.face(3 of 3) NumModes=1 Modes{Mode1{IntLine{centre of pec.face(3 of 3) -> pec.edge(2 of 2) at -0.25 along} CharImp=Zpi}}
  8: Wave Port Faces=pec.face(#6968) NumModes=1 Modes{Mode1{IntLine{centre of pec.face(#6968) -> pec.edge(#6970) at -0.25 along} CharImp=Zpi}}
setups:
  Setup1: HfssDriven Frequency=2GHz MaxDeltaS=0.02 MaximumPasses=6 MinimumPasses=1 MinimumConvergedPasses=1 PercentRefinement=30 BasisOrder=1 PortAccuracy=2
    sweep Sweep: 1.6GHz to 2.3GHz step 0.01GHz; Type=Discrete SaveFields
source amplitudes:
  1:1: 1W 0deg
  2:1, 3:1, 4:1, 5:1, 6:1, 7:1, 8:1: 0W 0deg
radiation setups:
  3D: Infinite Sphere Theta=0deg..180deg step 2deg Phi=-180deg..180deg step 2deg
  Elevation: Infinite Sphere Theta=-180deg..180deg step 1deg Phi=0deg..90deg step 90deg
  Azimuth: Infinite Sphere Theta=90deg..90deg step 0deg Phi=-180deg..180deg step 1deg
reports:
  S11: dB(S(1,1)), dB(S(2,2)), dB(S(3,3)), dB(S(4,4)), dB(S(5,5)), dB(S(6,6)), dB(S(7,7)), dB(S(8,8)) vs Freq
  Fig30_a_E_plane_Decoupling: dB(S(1,3)), dB(S(2,6)), dB(S(5,7)), dB(S(4,8)) vs Freq
  Fig30_b_H_plane_Decoupling: dB(S(1,5)), dB(S(2,4)) vs Freq
  Fig30_c: dB(S(1,8)), dB(S(2,7)) vs Freq
  Fig30_d: dB(S(2,8)), dB(S(3,5)), dB(S(4,5)), dB(S(1,7)) vs Freq
  Fig30_e: dB(S(2,1)), dB(S(5,6)) vs Freq
  Fig30_f: dB(S(1,4)), dB(S(1,6)), dB(S(2,3)), dB(S(2,5)) vs Freq
